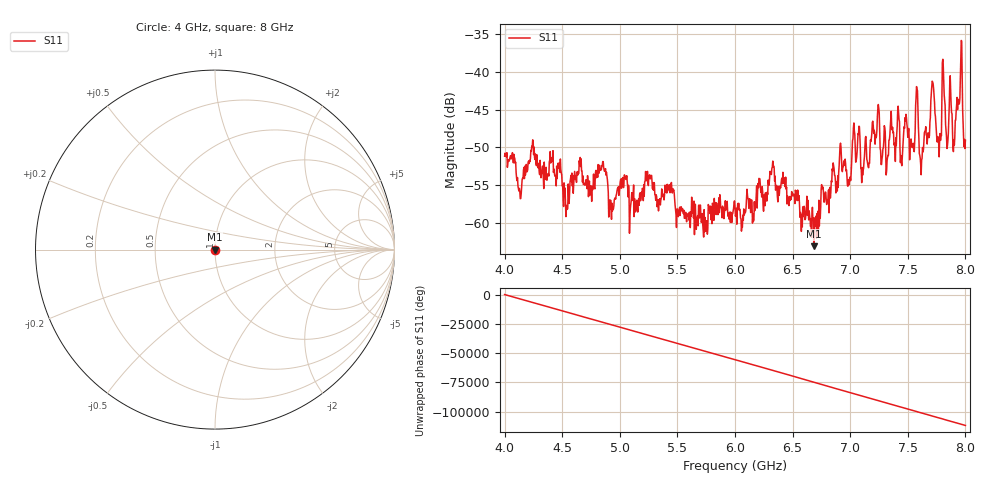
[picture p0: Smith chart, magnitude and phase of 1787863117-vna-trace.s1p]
! Created with skrf 1.10.0 (http://scikit-rf.org).
# Hz S RI R 50.0
!freq ReS11 ImS11
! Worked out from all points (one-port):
!   1001 points, 4 GHz to 8 GHz, reference 50 ohm
!   lowest |S11| = -63.1 dB at 6.684 GHz (marker M1), VSWR 1.00, Z = 50 + j0.0543 ohm
!   |S11| at or under -10 dB: start of sweep to end of sweep
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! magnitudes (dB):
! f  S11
! 4 GHz  -51.2
! 4.128 GHz  -55.5
! 4.248 GHz  -49.3
! 4.5 GHz  -55.1
! 5 GHz  -55.2
! 5.144 GHz  -57.3
! 5.26 GHz  -53.7
! 5.5 GHz  -58.2
! 6 GHz  -58.0
! 6.32 GHz  -52.8
! 6.5 GHz  -56.4
! 6.684 GHz  -63.1
! 6.924 GHz  -51.5
! 7 GHz  -53.9
! 7.032 GHz  -46.8
! 7.108 GHz  -53.7
! 7.232 GHz  -47.7
! 7.324 GHz  -51.4
! 7.5 GHz  -48.7
! 7.536 GHz  -50.0
! 7.58 GHz  -42.4
! 7.62 GHz  -51.7
! 7.72 GHz  -41.6
! 7.768 GHz  -49.4
! 7.812 GHz  -41.0
! 7.9 GHz  -49.0
! 7.956 GHz  -40.9
! 8 GHz  -49.1
